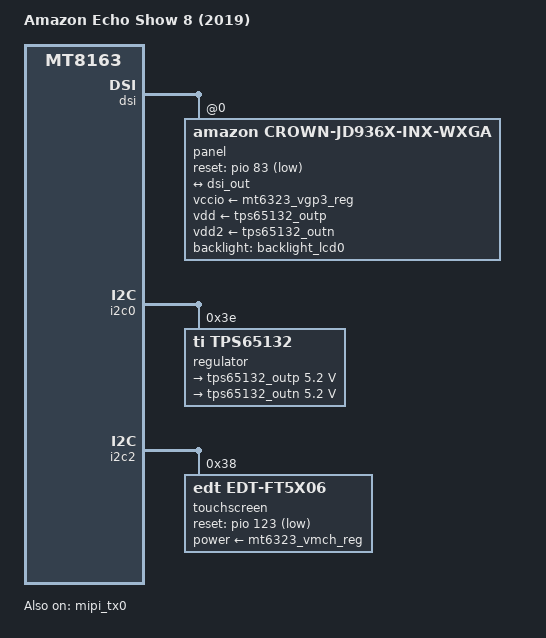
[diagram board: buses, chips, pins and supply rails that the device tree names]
// SPDX-License-Identifier: GPL-2.0-only OR MIT
/*
 * Copyright (c) 2025-2026 Ben Grisdale <bengris32@protonmail.ch>
 * Copyright (c) 2025-2026 Jack Matthews <jack@jackmatthe.ws>
 */

/dts-v1/;

#include "mt8163-amazon-show.dtsi"

/ {
	model = "Amazon Echo Show 8 (2019)";
	compatible = "amazon,crown", "mediatek,mt8163";
	chassis-type = "embedded";
};

&dsi {
	status = "okay";

	panel: panel@0 {
		compatible = "amazon,crown-jd936x-inx-wxga";
		reg = <0>;
		reset-gpios = <&pio 83 GPIO_ACTIVE_LOW>;
		backlight = <&backlight_lcd0>;
		vccio-supply = <&mt6323_vgp3_reg>;
		vdd-supply = <&tps65132_outp>;
		vdd2-supply = <&tps65132_outn>;
		rot = <1>;

		port {
			panel_in: endpoint {
				remote-endpoint = <&dsi_out>;
			};
		};
	};
};

&dsi_out {
	remote-endpoint = <&panel_in>;
};

&i2c0 {
	status = "okay";

	regulator@3e {
		compatible = "ti,tps65132";
		reg = <0x3e>;

		tps65132_outp: outp {
			regulator-name = "outp";
			regulator-min-microvolt = <5200000>;
			regulator-max-microvolt = <5200000>;
			regulator-min-microamp = <80000>;
			regulator-max-microamp = <80000>;
			regulator-active-discharge = <1>;
			enable-gpios = <&pio 8 GPIO_ACTIVE_HIGH>;
		};

		tps65132_outn: outn {
			regulator-name = "outn";
			regulator-min-microvolt = <5200000>;
			regulator-max-microvolt = <5200000>;
			regulator-min-microamp = <80000>;
			regulator-max-microamp = <80000>;
			regulator-active-discharge = <1>;
			enable-gpios = <&pio 9 GPIO_ACTIVE_HIGH>;
		};
	};
};

&i2c2 {
	status = "okay";

	touchscreen@38 {
		compatible = "edt,edt-ft5x06";
		reg = <0x38>;
		reset-gpios = <&pio 123 GPIO_ACTIVE_LOW>;
		power-supply = <&mt6323_vmch_reg>;
		touchscreen-size-x = <1280>;
		touchscreen-size-y = <800>;
		touchscreen-inverted-y;
		touchscreen-swapped-x-y;
	};
};

&mipi_tx0 {
	status = "okay";
};
